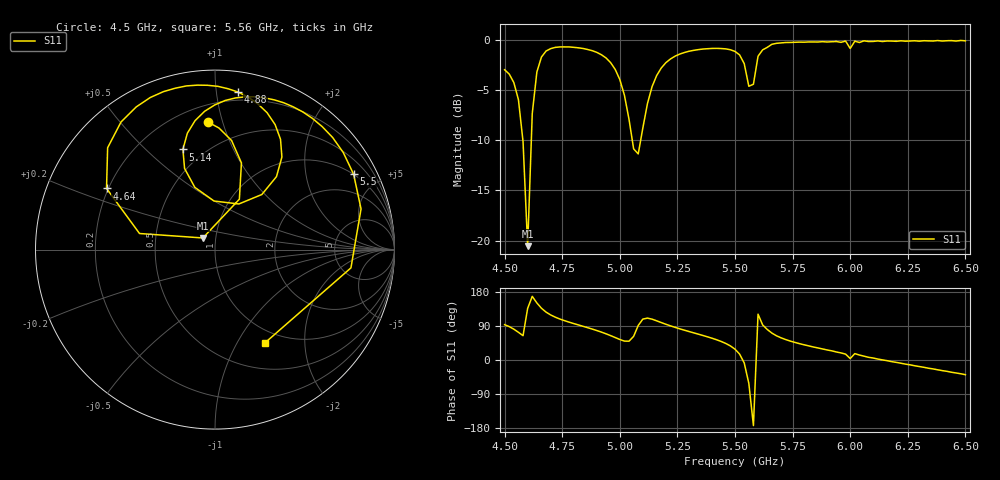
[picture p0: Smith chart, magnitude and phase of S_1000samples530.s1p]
! TOUCHSTONE file generated by CST MICROWAVE STUDIO
! Date and time: Fri Oct 28 11:52:52 2022
! Project name: L.cst
! Parameters = {Di=1.27; Epsilon_r=1.56; InnerDiameter=1.27; Length=2; Lf=10; Lg=60; OuterConductorThickness=0.2921; OuterDiameter=3.6; Wf=3; Wp=41.2; de=1.5; df=6.8; g=0.8; gx=0.49595; gy=4.20973; h=2.34; hf=1.524; px=14.1873; py=11.2833; w=9.7; wx=13.6913; wy=7.07359}
! Header version: 2018
! Port assignment regex: !\s*Touchstone port\s*([0-9]+)\s*=\s*(CST MWS port|CST DS port)\s*([0-9]+|Zmin|Zmax)\s*\(\"(.*)\"\)(\s*mode\s*([0-9]+))?.*
! Touchstone port assignment:
! Touchstone port 1 = CST MWS port 1 ("")
# GHz S DB R 50
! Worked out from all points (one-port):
!   101 points, 4.5 GHz to 6.5 GHz, reference 50 ohm
!   lowest |S11| = -20.6 dB at 4.6 GHz (marker M1), VSWR 1.21, Z = 43.3 + j5.66 ohm
!   |S11| at or under -10 dB: 4.579 GHz to 4.616 GHz (36.53 MHz wide, 0.794 % of centre); 5.054 GHz to 5.09 GHz (36.21 MHz wide, 0.714 % of centre)
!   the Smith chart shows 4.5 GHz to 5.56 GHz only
!   S11 on the Smith chart (normalised r, x): 4.5 GHz: 0.31, +0.90; 4.64 GHz: 0.19, +0.25; 4.88 GHz: 0.14, +1.15; 5.14 GHz: 0.39, +0.66; 5.5 GHz: 0.99, +3.68; 5.56 GHz: 0.83, -1.32
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4.5  -2.95 93.2
4.56  -5.94 73.0
4.58  -10.12 64.2
4.6  -20.57 136.2
4.62  -7.33 168.0
4.64  -3.17 150.6
4.68  -1.08 126.3
4.76  -0.67 103.8
4.88  -1.04 81.7
5  -3.92 54.2
5.04  -7.90 49.6
5.08  -11.35 91.1
5.14  -4.64 107.8
5.26  -1.38 82.3
5.4  -0.82 57.5
5.5  -1.12 28.5
5.54  -2.34 -7.7
5.56  -4.60 -61.6
5.58  -4.39 -173.0
5.6  -1.60 120.9
5.62  -0.96 92.5
5.68  -0.31 63.9
5.76  -0.21 46.5
5.98  -0.08 15.5
6  -0.83 3.8
6.02  -0.10 16.8
6.26  -0.08 -12.8
6.5  -0.06 -38.7
